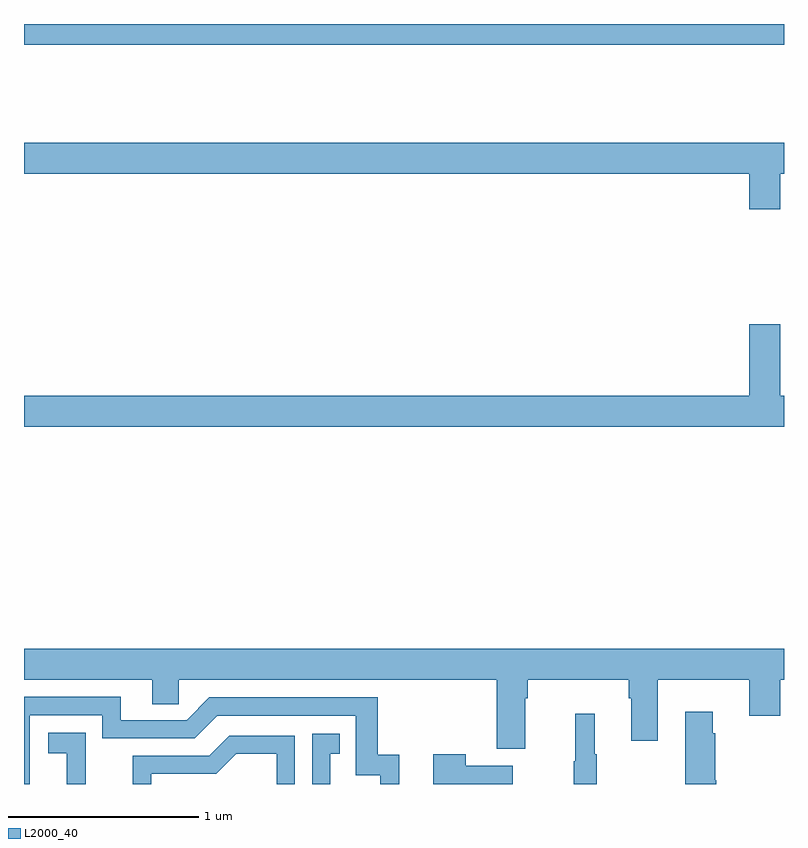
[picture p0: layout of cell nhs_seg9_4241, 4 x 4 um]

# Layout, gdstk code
import gdstk
lib = gdstk.Library(unit=1e-6, precision=1e-09)
def R(c, l, rs):  # rectangles x0, y0, x1, y1
    for r in rs: c.add(gdstk.rectangle(r[:2], r[2:], *l))
def P(c, l, *ps):  # polygons
    for p in ps: c.add(gdstk.Polygon(p, *l))
L2000_40 = (2000, 40)

nhs_seg9_4241 = lib.new_cell('nhs_seg9_4241')
R(nhs_seg9_4241, L2000_40, [(353,1238.392,357,1238.5)])
P(nhs_seg9_4241, L2000_40, [(353,1237.712),(356.816,1237.712),(356.816,1237.524),(356.98,1237.524),(356.98,1237.712),(357,1237.712),(357,1237.876),(353,1237.876)],
  [(357,1236.544),(356.98,1236.544),(356.98,1236.919),(356.816,1236.919),(356.816,1236.544),(353,1236.544),(353,1236.38),(357,1236.38)],
  [(355.639,1234.952),(355.652,1234.952),(355.652,1235.048),(356.183,1235.048),(356.183,1234.952),(356.195,1234.952),(356.195,1234.728),(356.335,1234.728),(356.335,1235.048),(356.816,1235.048),(356.816,1234.86),(356.98,1234.86),(356.98,1235.048),(357,1235.048),(357,1235.212),(353,1235.212),(353,1235.048),(353.675,1235.048),(353.675,1234.921),(353.814,1234.921),(353.814,1235.048),(355.487,1235.048),(355.487,1234.686),(355.639,1234.686)],
  [(353.031,1234.863),(353.412,1234.863),(353.412,1234.74),(353.898,1234.74),(354.018,1234.86),(354.747,1234.86),(354.747,1234.545),(354.876,1234.545),(354.876,1234.5),(354.974,1234.5),(354.974,1234.654),(354.863,1234.654),(354.863,1234.956),(353.976,1234.956),(353.856,1234.836),(353.509,1234.836),(353.509,1234.959),(353,1234.959),(353,1234.5),(353.031,1234.5)],
  [(356.644,1234.521),(356.639,1234.521),(356.639,1234.766),(356.626,1234.766),(356.626,1234.879),(356.48,1234.879),(356.48,1234.5),(356.644,1234.5)],
  [(356.014,1234.657),(356.003,1234.657),(356.003,1234.87),(355.9,1234.87),(355.9,1234.62),(355.893,1234.62),(355.893,1234.5),(356.014,1234.5)],
  [(353.324,1234.565),(353.325,1234.565),(353.325,1234.771),(353.127,1234.771),(353.127,1234.661),(353.225,1234.661),(353.225,1234.5),(353.324,1234.5)],
  [(354.613,1234.659),(354.662,1234.659),(354.662,1234.765),(354.516,1234.765),(354.516,1234.5),(354.613,1234.5)],
  [(353.67,1234.554),(354.012,1234.554),(354.116,1234.658),(354.33,1234.658),(354.33,1234.5),(354.426,1234.5),(354.426,1234.755),(354.08,1234.755),(353.975,1234.65),(353.572,1234.65),(353.572,1234.5),(353.67,1234.5)],
  [(355.573,1234.597),(355.325,1234.597),(355.325,1234.657),(355.154,1234.657),(355.154,1234.5),(355.573,1234.5)])

lib.write_gds('nhs_seg9_4241.gds')
